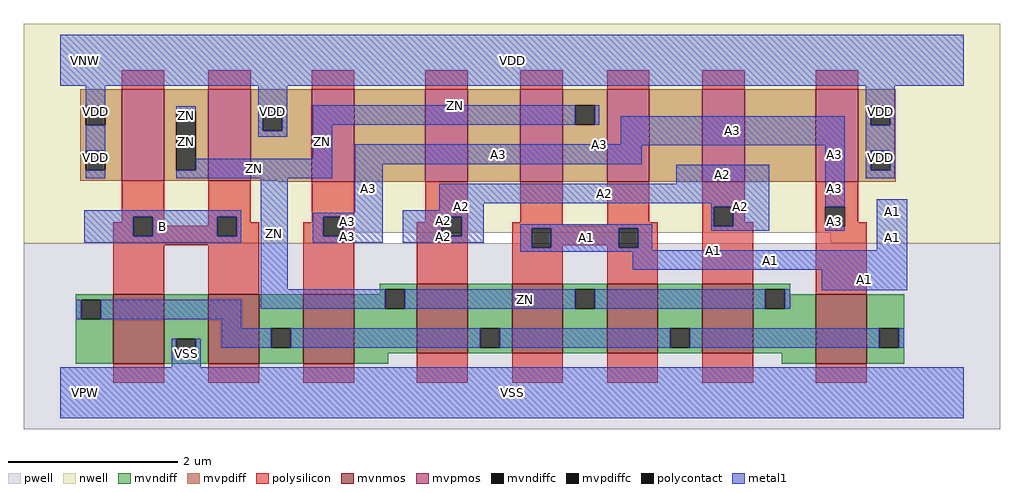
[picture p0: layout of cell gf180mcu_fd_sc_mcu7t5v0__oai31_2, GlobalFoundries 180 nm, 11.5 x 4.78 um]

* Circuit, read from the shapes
.subckt gf180mcu_fd_sc_mcu7t5v0__oai31_2 A1 A2 A3 B ZN VDD VNW VPW VSS
XM1 VSS B n1 VPW nfet_06v0 w=0.82u l=0.6u m=2
XM2 ZN A3 n1 VPW nfet_06v0 w=0.82u l=0.6u m=2
XM3 n1 A2 ZN VPW nfet_06v0 w=0.82u l=0.6u m=2
XM4 ZN A1 n1 VPW nfet_06v0 w=0.82u l=0.6u m=2
XM5 ZN B VDD VNW pfet_06v0 w=1.08u l=0.5u m=2
XM6 n2 A3 VDD VNW pfet_06v0 w=1.095u l=0.5u
XM7 n3 A2 n2 VNW pfet_06v0 w=1.095u l=0.5u
XM8 ZN A1 n3 VNW pfet_06v0 w=1.095u l=0.5u
XM9 n4 A1 ZN VNW pfet_06v0 w=1.095u l=0.5u
XM10 n5 A2 n4 VNW pfet_06v0 w=1.095u l=0.5u
XM11 VDD A3 n5 VNW pfet_06v0 w=1.095u l=0.5u
.ends

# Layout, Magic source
magic
tech gf180mcuD
magscale 1 10
<< nwell >>
rect -86 377 2214 870
rect -86 352 668 377
rect 1814 352 2214 377
<< pwell >>
rect -86 -86 2214 352
<< mvnmos >>
rect 124 68 244 232
rect 348 68 468 232
rect 572 68 692 232
rect 840 93 960 257
rect 1064 93 1184 257
rect 1288 93 1408 257
rect 1512 93 1632 257
rect 1780 68 1900 232
<< mvpmos >>
rect 144 500 244 716
rect 348 500 448 716
rect 592 497 692 716
rect 860 497 960 716
rect 1084 497 1184 716
rect 1288 497 1388 716
rect 1512 497 1612 716
rect 1780 497 1880 716
<< mvndiff >>
rect 752 244 840 257
rect 752 232 765 244
rect 36 219 124 232
rect 36 173 49 219
rect 95 173 124 219
rect 36 68 124 173
rect 244 127 348 232
rect 244 81 273 127
rect 319 81 348 127
rect 244 68 348 81
rect 468 152 572 232
rect 468 106 497 152
rect 543 106 572 152
rect 468 68 572 106
rect 692 198 765 232
rect 811 198 840 244
rect 692 93 840 198
rect 960 152 1064 257
rect 960 106 989 152
rect 1035 106 1064 152
rect 960 93 1064 106
rect 1184 244 1288 257
rect 1184 198 1213 244
rect 1259 198 1288 244
rect 1184 93 1288 198
rect 1408 152 1512 257
rect 1408 106 1437 152
rect 1483 106 1512 152
rect 1408 93 1512 106
rect 1632 244 1720 257
rect 1632 198 1661 244
rect 1707 232 1720 244
rect 1707 198 1780 232
rect 1632 93 1780 198
rect 692 68 772 93
rect 1700 68 1780 93
rect 1900 152 1988 232
rect 1900 106 1929 152
rect 1975 106 1988 152
rect 1900 68 1988 106
<< mvpdiff >>
rect 46 677 144 716
rect 46 631 59 677
rect 105 631 144 677
rect 46 570 144 631
rect 46 524 59 570
rect 105 524 144 570
rect 46 500 144 524
rect 244 664 348 716
rect 244 524 273 664
rect 319 524 348 664
rect 244 500 348 524
rect 448 664 592 716
rect 448 618 477 664
rect 523 618 592 664
rect 448 500 592 618
rect 512 497 592 500
rect 692 497 860 716
rect 960 497 1084 716
rect 1184 678 1288 716
rect 1184 632 1213 678
rect 1259 632 1288 678
rect 1184 497 1288 632
rect 1388 497 1512 716
rect 1612 497 1780 716
rect 1880 677 1968 716
rect 1880 631 1909 677
rect 1955 631 1968 677
rect 1880 570 1968 631
rect 1880 524 1909 570
rect 1955 524 1968 570
rect 1880 497 1968 524
<< mvndiffc >>
rect 49 173 95 219
rect 273 81 319 127
rect 497 106 543 152
rect 765 198 811 244
rect 989 106 1035 152
rect 1213 198 1259 244
rect 1437 106 1483 152
rect 1661 198 1707 244
rect 1929 106 1975 152
<< mvpdiffc >>
rect 59 631 105 677
rect 59 524 105 570
rect 273 524 319 664
rect 477 618 523 664
rect 1213 632 1259 678
rect 1909 631 1955 677
rect 1909 524 1955 570
<< polysilicon >>
rect 144 716 244 760
rect 348 716 448 760
rect 592 716 692 760
rect 860 716 960 760
rect 1084 716 1184 760
rect 1288 716 1388 760
rect 1512 716 1612 760
rect 1780 716 1880 760
rect 144 415 244 500
rect 144 402 171 415
rect 124 369 171 402
rect 217 394 244 415
rect 348 415 448 500
rect 348 394 369 415
rect 217 369 369 394
rect 415 402 448 415
rect 592 415 692 497
rect 592 402 619 415
rect 415 369 468 402
rect 124 348 468 369
rect 124 232 244 348
rect 348 232 468 348
rect 572 369 619 402
rect 665 369 692 415
rect 860 415 960 497
rect 860 402 899 415
rect 572 232 692 369
rect 840 369 899 402
rect 945 369 960 415
rect 1084 402 1184 497
rect 840 257 960 369
rect 1064 394 1184 402
rect 1288 402 1388 497
rect 1512 439 1612 497
rect 1288 394 1408 402
rect 1064 388 1408 394
rect 1064 342 1111 388
rect 1157 348 1315 388
rect 1157 342 1184 348
rect 1064 257 1184 342
rect 1288 342 1315 348
rect 1361 342 1408 388
rect 1288 257 1408 342
rect 1512 393 1539 439
rect 1585 402 1612 439
rect 1780 439 1880 497
rect 1585 393 1632 402
rect 1512 257 1632 393
rect 1780 393 1802 439
rect 1848 402 1880 439
rect 1848 393 1900 402
rect 1780 232 1900 393
rect 124 24 244 68
rect 348 24 468 68
rect 572 24 692 68
rect 840 24 960 93
rect 1064 24 1184 93
rect 1288 24 1408 93
rect 1512 24 1632 93
rect 1780 24 1900 68
<< polycontact >>
rect 171 369 217 415
rect 369 369 415 415
rect 619 369 665 415
rect 899 369 945 415
rect 1111 342 1157 388
rect 1315 342 1361 388
rect 1539 393 1585 439
rect 1802 393 1848 439
<< metal1 >>
rect 0 724 2128 844
rect 59 677 105 724
rect 59 570 105 631
rect 59 506 105 524
rect 273 664 319 675
rect 466 664 534 724
rect 466 618 477 664
rect 523 618 534 664
rect 466 604 534 618
rect 594 632 1213 678
rect 1259 632 1270 678
rect 1898 677 1966 724
rect 594 552 640 632
rect 1320 586 1848 652
rect 319 524 640 552
rect 273 506 640 524
rect 694 584 1848 586
rect 694 539 1370 584
rect 56 415 426 430
rect 56 369 171 415
rect 217 369 369 415
rect 415 369 426 415
rect 56 354 426 369
rect 472 244 536 506
rect 694 424 760 539
rect 1451 493 1670 538
rect 892 447 1670 493
rect 892 430 998 447
rect 594 415 760 424
rect 594 369 619 415
rect 665 369 760 415
rect 594 354 760 369
rect 806 415 998 430
rect 806 369 899 415
rect 945 369 998 415
rect 1534 439 1670 447
rect 806 354 998 369
rect 1084 388 1395 397
rect 1084 342 1111 388
rect 1157 342 1315 388
rect 1361 342 1395 388
rect 1534 393 1539 439
rect 1585 393 1670 439
rect 1534 382 1670 393
rect 1802 439 1848 584
rect 1898 631 1909 677
rect 1955 631 1966 677
rect 1898 570 1966 631
rect 1898 524 1909 570
rect 1955 524 1966 570
rect 1898 506 1966 524
rect 1802 382 1848 393
rect 1084 336 1395 342
rect 1924 336 1996 456
rect 1084 333 1996 336
rect 1349 290 1996 333
rect 36 173 49 219
rect 95 173 426 219
rect 472 198 765 244
rect 811 198 1213 244
rect 1259 198 1661 244
rect 1707 198 1720 244
rect 1794 242 1996 290
rect 380 152 426 173
rect 262 81 273 127
rect 319 81 330 127
rect 380 106 497 152
rect 543 106 989 152
rect 1035 106 1437 152
rect 1483 106 1929 152
rect 1975 106 1988 152
rect 262 60 330 81
rect 0 -60 2128 60
<< labels >>
flabel metal1 s 1451 493 1670 538 0 FreeSans 400 0 0 0 A2
port 2 nsew default input
flabel metal1 s 1320 586 1848 652 0 FreeSans 400 0 0 0 A3
port 3 nsew default input
flabel metal1 s 56 354 426 430 0 FreeSans 400 0 0 0 B
port 4 nsew default input
flabel metal1 s 0 724 2128 844 0 FreeSans 400 0 0 0 VDD
port 6 nsew power bidirectional abutment
flabel metal1 s 262 60 330 127 0 FreeSans 400 0 0 0 VSS
port 9 nsew ground bidirectional abutment
flabel metal1 s 594 675 1270 678 0 FreeSans 400 0 0 0 ZN
port 5 nsew default output
flabel metal1 s 1924 397 1996 456 0 FreeSans 400 0 0 0 A1
port 1 nsew default input
flabel nwell s 10 734 110 834 0 FreeSans 400 0 0 0 VNW
port 7 nsew power bidirectional
flabel pwell s 10 -50 110 50 0 FreeSans 400 0 0 0 VPW
port 8 nsew ground bidirectional
rlabel metal1 s 1924 336 1996 397 1 A1
port 1 nsew default input
rlabel metal1 s 1084 336 1395 397 1 A1
port 1 nsew default input
rlabel metal1 s 1084 333 1996 336 1 A1
port 1 nsew default input
rlabel metal1 s 1349 290 1996 333 1 A1
port 1 nsew default input
rlabel metal1 s 1794 242 1996 290 1 A1
port 1 nsew default input
rlabel metal1 s 892 447 1670 493 1 A2
port 2 nsew default input
rlabel metal1 s 1534 430 1670 447 1 A2
port 2 nsew default input
rlabel metal1 s 892 430 998 447 1 A2
port 2 nsew default input
rlabel metal1 s 1534 382 1670 430 1 A2
port 2 nsew default input
rlabel metal1 s 806 382 998 430 1 A2
port 2 nsew default input
rlabel metal1 s 806 354 998 382 1 A2
port 2 nsew default input
rlabel metal1 s 694 584 1848 586 1 A3
port 3 nsew default input
rlabel metal1 s 1802 539 1848 584 1 A3
port 3 nsew default input
rlabel metal1 s 694 539 1370 584 1 A3
port 3 nsew default input
rlabel metal1 s 1802 424 1848 539 1 A3
port 3 nsew default input
rlabel metal1 s 694 424 760 539 1 A3
port 3 nsew default input
rlabel metal1 s 1802 382 1848 424 1 A3
port 3 nsew default input
rlabel metal1 s 594 382 760 424 1 A3
port 3 nsew default input
rlabel metal1 s 594 354 760 382 1 A3
port 3 nsew default input
rlabel metal1 s 594 632 1270 675 1 ZN
port 5 nsew default output
rlabel metal1 s 273 632 319 675 1 ZN
port 5 nsew default output
rlabel metal1 s 594 552 640 632 1 ZN
port 5 nsew default output
rlabel metal1 s 273 552 319 632 1 ZN
port 5 nsew default output
rlabel metal1 s 273 506 640 552 1 ZN
port 5 nsew default output
rlabel metal1 s 472 244 536 506 1 ZN
port 5 nsew default output
rlabel metal1 s 472 198 1720 244 1 ZN
port 5 nsew default output
rlabel metal1 s 1898 604 1966 724 1 VDD
port 6 nsew power bidirectional abutment
rlabel metal1 s 466 604 534 724 1 VDD
port 6 nsew power bidirectional abutment
rlabel metal1 s 59 604 105 724 1 VDD
port 6 nsew power bidirectional abutment
rlabel metal1 s 1898 506 1966 604 1 VDD
port 6 nsew power bidirectional abutment
rlabel metal1 s 59 506 105 604 1 VDD
port 6 nsew power bidirectional abutment
rlabel metal1 s 0 -60 2128 60 1 VSS
port 9 nsew ground bidirectional abutment
<< properties >>
string FIXED_BBOX 0 0 2128 784
string GDS_END 44278
string GDS_FILE $PDKPATH/libs.ref/gf180mcu_fd_sc_mcu7t5v0/gds/gf180mcu_fd_sc_mcu7t5v0.gds
string GDS_START 39480
string LEFclass core
string LEFsite GF018hv5v_mcu_sc7
string LEFsymmetry X Y
<< end >>
